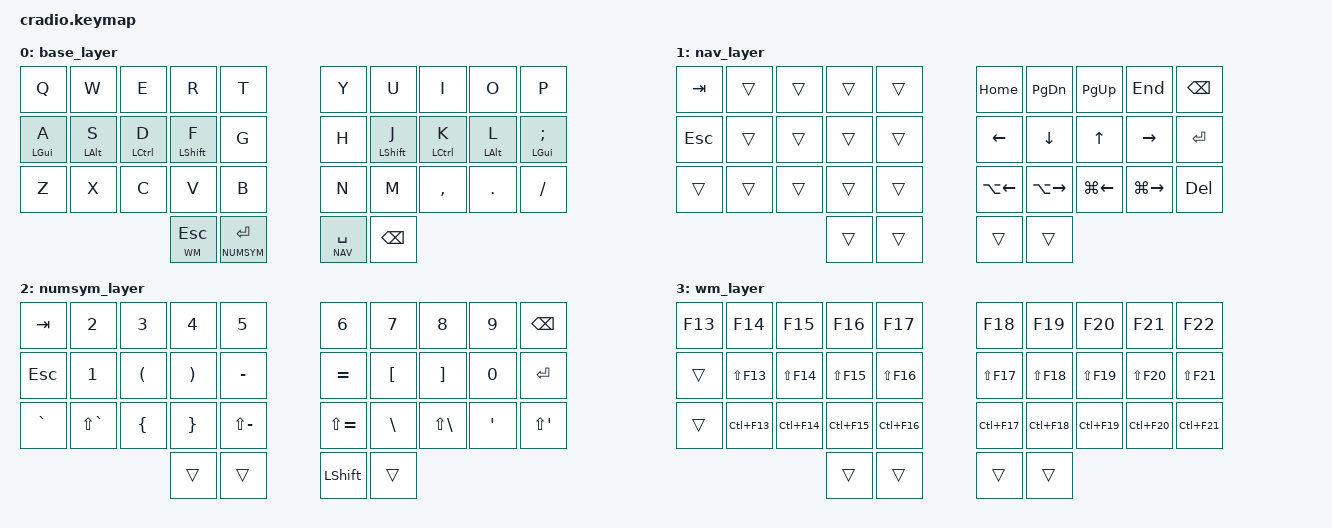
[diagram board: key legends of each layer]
#include <behaviors.dtsi>
#include <dt-bindings/zmk/keys.h>
#include <dt-bindings/zmk/bt.h>

#define BASE   0
#define NAV    1
#define NUMSYM 2
#define WM     3

/ {
    behaviors {
        hm: homerow_mods {
            compatible = "zmk,behavior-hold-tap";
            label = "HOMEROW_MODS";
            #binding-cells = <2>;
            tapping-term-ms = <180>;
            quick-tap-ms = <0>;
            flavor = "tap-preferred";
            bindings = <&kp>, <&kp>;
        };
    };

    combos {
        compatible = "zmk,combos";

        combo_tab {
            timeout-ms = <30>;
            key-positions = <16 17>; // J K
            bindings = <&kp TAB>;
        };

        combo_undo {
            timeout-ms = <30>;
            key-positions = <11 12>; // S D
            bindings = <&kp LG(Z)>;
        };

        combo_redo {
            timeout-ms = <30>;
            key-positions = <17 18>; // K L
            bindings = <&kp LG(LS(Z))>;
        };
    };

    keymap {
        compatible = "zmk,keymap";

        base_layer {
            bindings = <
            &kp Q    &kp W    &kp E    &kp R    &kp T        &kp Y    &kp U    &kp I    &kp O    &kp P
            &hm LGUI A &hm LALT S &hm LCTRL D &hm LSHIFT F &kp G
                                                                    &kp H &hm LSHIFT J &hm LCTRL K &hm LALT L &hm LGUI SEMI
            &kp Z    &kp X    &kp C    &kp V    &kp B        &kp N    &kp M    &kp COMMA &kp DOT &kp FSLH

                                      &lt WM ESC
                                      &lt NUMSYM ENTER
                                      &lt NAV SPACE
                                      &kp BSPC
            >;
        };

        nav_layer {
            bindings = <
            &kp TAB  &trans   &trans   &trans   &trans       &kp HOME &kp PG_DN &kp PG_UP &kp END &kp BSPC
            &kp ESC  &trans   &trans   &trans   &trans       &kp LEFT &kp DOWN &kp UP &kp RIGHT &kp ENTER
            &trans   &trans   &trans   &trans   &trans       &kp LA(LEFT) &kp LA(RIGHT) &kp LG(LEFT) &kp LG(RIGHT) &kp DEL
                                      &trans   &trans         &trans   &trans
            >;
        };

        numsym_layer {
            bindings = <
            &kp TAB  &kp N2   &kp N3   &kp N4   &kp N5       &kp N6   &kp N7   &kp N8   &kp N9   &kp BSPC
            &kp ESC  &kp N1   &kp LPAR &kp RPAR &kp MINUS    &kp EQUAL &kp LBKT &kp RBKT &kp N0  &kp ENTER
            &kp GRAVE &kp LS(GRAVE) &kp LBRC &kp RBRC &kp LS(MINUS)
                                                                  &kp LS(EQUAL) &kp BSLH &kp LS(BSLH) &kp APOS &kp LS(APOS)

                                      &trans   &trans         &kp LSHIFT   &trans
            >;
        };

        wm_layer {
            bindings = <
            // Spaces / system
            &kp F13  &kp F14  &kp F15  &kp F16  &kp F17      &kp F18  &kp F19  &kp F20  &kp F21  &kp F22

            // Focus / swap / close
            &trans   &kp LS(F13) &kp LS(F14) &kp LS(F15) &kp LS(F16)
                                                                  &kp LS(F17) &kp LS(F18) &kp LS(F19) &kp LS(F20) &kp LS(F21)

            // Resize / transforms
            &trans   &kp LC(F13) &kp LC(F14) &kp LC(F15) &kp LC(F16)
                                                                  &kp LC(F17) &kp LC(F18) &kp LC(F19) &kp LC(F20) &kp LC(F21)

                                      &trans   &trans         &trans   &trans
            >;
        };
    };
};
